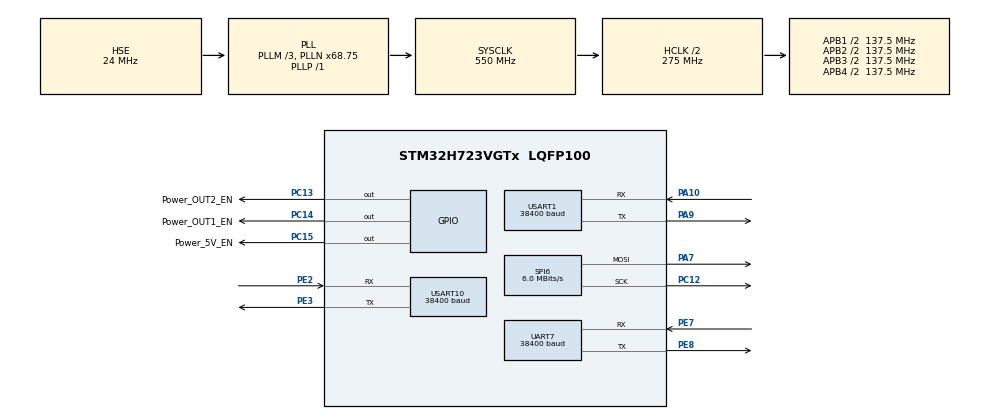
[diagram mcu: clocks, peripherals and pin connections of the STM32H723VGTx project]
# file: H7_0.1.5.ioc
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Bdma.Request0=SPI6_TX
Bdma.RequestsNb=1
Bdma.SPI6_TX.0.Direction=DMA_MEMORY_TO_PERIPH
Bdma.SPI6_TX.0.EventEnable=DISABLE
Bdma.SPI6_TX.0.Instance=BDMA_Channel0
Bdma.SPI6_TX.0.MemDataAlignment=DMA_MDATAALIGN_BYTE
Bdma.SPI6_TX.0.MemInc=DMA_MINC_ENABLE
Bdma.SPI6_TX.0.Mode=DMA_NORMAL
Bdma.SPI6_TX.0.PeriphDataAlignment=DMA_PDATAALIGN_BYTE
Bdma.SPI6_TX.0.PeriphInc=DMA_PINC_DISABLE
Bdma.SPI6_TX.0.Polarity=HAL_DMAMUX_REQ_GEN_RISING
Bdma.SPI6_TX.0.Priority=DMA_PRIORITY_LOW
Bdma.SPI6_TX.0.RequestNumber=1
Bdma.SPI6_TX.0.SignalID=NONE
Bdma.SPI6_TX.0.SyncEnable=DISABLE
Bdma.SPI6_TX.0.SyncPolarity=HAL_DMAMUX_SYNC_NO_EVENT
Bdma.SPI6_TX.0.SyncRequestNumber=1
Bdma.SPI6_TX.0.SyncSignalID=NONE
CORTEX_M7.CPU_ICache=Enabled
CORTEX_M7.MPU_Control=__NULL
CORTEX_M7.default_mode_Activation=1
Dma.Request0=USART1_RX
Dma.Request1=USART1_TX
Dma.Request2=USART10_RX
Dma.Request3=USART10_TX
Dma.Request4=UART7_RX
Dma.Request5=UART7_TX
Dma.UART7_RX.4.Direction=DMA_PERIPH_TO_MEMORY
Dma.UART7_RX.4.EventEnable=DISABLE
Dma.UART7_RX.4.FIFOMode=DMA_FIFOMODE_DISABLE
Dma.UART7_RX.4.Instance=DMA1_Stream4
Dma.UART7_RX.4.MemDataAlignment=DMA_MDATAALIGN_BYTE
Dma.UART7_RX.4.MemInc=DMA_MINC_ENABLE
Dma.UART7_RX.4.Mode=DMA_NORMAL
Dma.UART7_RX.4.PeriphDataAlignment=DMA_PDATAALIGN_BYTE
Dma.UART7_RX.4.PeriphInc=DMA_PINC_DISABLE
Dma.UART7_RX.4.Polarity=HAL_DMAMUX_REQ_GEN_RISING
Dma.UART7_RX.4.Priority=DMA_PRIORITY_LOW
Dma.UART7_RX.4.RequestNumber=1
Dma.UART7_RX.4.SignalID=NONE
Dma.UART7_RX.4.SyncEnable=DISABLE
Dma.UART7_RX.4.SyncPolarity=HAL_DMAMUX_SYNC_NO_EVENT
Dma.UART7_RX.4.SyncRequestNumber=1
Dma.UART7_RX.4.SyncSignalID=NONE
Dma.UART7_TX.5.Direction=DMA_MEMORY_TO_PERIPH
Dma.UART7_TX.5.EventEnable=DISABLE
Dma.UART7_TX.5.FIFOMode=DMA_FIFOMODE_DISABLE
Dma.UART7_TX.5.Instance=DMA1_Stream5
Dma.UART7_TX.5.MemDataAlignment=DMA_MDATAALIGN_BYTE
Dma.UART7_TX.5.MemInc=DMA_MINC_ENABLE
Dma.UART7_TX.5.Mode=DMA_NORMAL
Dma.UART7_TX.5.PeriphDataAlignment=DMA_PDATAALIGN_BYTE
Dma.UART7_TX.5.PeriphInc=DMA_PINC_DISABLE
Dma.UART7_TX.5.Polarity=HAL_DMAMUX_REQ_GEN_RISING
Dma.UART7_TX.5.Priority=DMA_PRIORITY_LOW
Dma.UART7_TX.5.RequestNumber=1
Dma.UART7_TX.5.SignalID=NONE
Dma.UART7_TX.5.SyncEnable=DISABLE
Dma.UART7_TX.5.SyncPolarity=HAL_DMAMUX_SYNC_NO_EVENT
Dma.UART7_TX.5.SyncRequestNumber=1
Dma.UART7_TX.5.SyncSignalID=NONE
Dma.USART10_RX.2.Direction=DMA_PERIPH_TO_MEMORY
Dma.USART10_RX.2.EventEnable=DISABLE
Dma.USART10_RX.2.FIFOMode=DMA_FIFOMODE_DISABLE
Dma.USART10_RX.2.Instance=DMA1_Stream2
Dma.USART10_RX.2.MemDataAlignment=DMA_MDATAALIGN_BYTE
Dma.USART10_RX.2.MemInc=DMA_MINC_ENABLE
Dma.USART10_RX.2.Mode=DMA_NORMAL
Dma.USART10_RX.2.PeriphDataAlignment=DMA_PDATAALIGN_BYTE
Dma.USART10_RX.2.PeriphInc=DMA_PINC_DISABLE
Dma.USART10_RX.2.Polarity=HAL_DMAMUX_REQ_GEN_RISING
Dma.USART10_RX.2.Priority=DMA_PRIORITY_LOW
Dma.USART10_RX.2.RequestNumber=1
Dma.USART10_RX.2.SignalID=NONE
Dma.USART10_RX.2.SyncEnable=DISABLE
Dma.USART10_RX.2.SyncPolarity=HAL_DMAMUX_SYNC_NO_EVENT
Dma.USART10_RX.2.SyncRequestNumber=1
Dma.USART10_RX.2.SyncSignalID=NONE
Dma.USART10_TX.3.Direction=DMA_MEMORY_TO_PERIPH
Dma.USART10_TX.3.EventEnable=DISABLE
Dma.USART10_TX.3.FIFOMode=DMA_FIFOMODE_DISABLE
Dma.USART10_TX.3.Instance=DMA1_Stream3
Dma.USART10_TX.3.MemDataAlignment=DMA_MDATAALIGN_BYTE
Dma.USART10_TX.3.MemInc=DMA_MINC_ENABLE
Dma.USART10_TX.3.Mode=DMA_NORMAL
Dma.USART10_TX.3.PeriphDataAlignment=DMA_PDATAALIGN_BYTE
Dma.USART10_TX.3.PeriphInc=DMA_PINC_DISABLE
Dma.USART10_TX.3.Polarity=HAL_DMAMUX_REQ_GEN_RISING
Dma.USART10_TX.3.Priority=DMA_PRIORITY_LOW
Dma.USART10_TX.3.RequestNumber=1
Dma.USART10_TX.3.SignalID=NONE
Dma.USART10_TX.3.SyncEnable=DISABLE
Dma.USART10_TX.3.SyncPolarity=HAL_DMAMUX_SYNC_NO_EVENT
Dma.USART10_TX.3.SyncRequestNumber=1
Dma.USART10_TX.3.SyncSignalID=NONE
Dma.USART1_RX.0.Direction=DMA_PERIPH_TO_MEMORY
Dma.USART1_RX.0.EventEnable=DISABLE
Dma.USART1_RX.0.FIFOMode=DMA_FIFOMODE_DISABLE
Dma.USART1_RX.0.Instance=DMA1_Stream0
Dma.USART1_RX.0.MemDataAlignment=DMA_MDATAALIGN_BYTE
Dma.USART1_RX.0.MemInc=DMA_MINC_ENABLE
Dma.USART1_RX.0.Mode=DMA_NORMAL
Dma.USART1_RX.0.PeriphDataAlignment=DMA_PDATAALIGN_BYTE
Dma.USART1_RX.0.PeriphInc=DMA_PINC_DISABLE
Dma.USART1_RX.0.Polarity=HAL_DMAMUX_REQ_GEN_RISING
Dma.USART1_RX.0.Priority=DMA_PRIORITY_LOW
Dma.USART1_RX.0.RequestNumber=1
Dma.USART1_RX.0.SignalID=NONE
Dma.USART1_RX.0.SyncEnable=DISABLE
Dma.USART1_RX.0.SyncPolarity=HAL_DMAMUX_SYNC_NO_EVENT
Dma.USART1_RX.0.SyncRequestNumber=1
Dma.USART1_RX.0.SyncSignalID=NONE
Dma.USART1_TX.1.Direction=DMA_MEMORY_TO_PERIPH
Dma.USART1_TX.1.EventEnable=DISABLE
Dma.USART1_TX.1.FIFOMode=DMA_FIFOMODE_DISABLE
Dma.USART1_TX.1.Instance=DMA1_Stream1
Dma.USART1_TX.1.MemDataAlignment=DMA_MDATAALIGN_BYTE
Dma.USART1_TX.1.MemInc=DMA_MINC_ENABLE
Dma.USART1_TX.1.Mode=DMA_NORMAL
Dma.USART1_TX.1.PeriphDataAlignment=DMA_PDATAALIGN_BYTE
Dma.USART1_TX.1.PeriphInc=DMA_PINC_DISABLE
Dma.USART1_TX.1.Polarity=HAL_DMAMUX_REQ_GEN_RISING
Dma.USART1_TX.1.Priority=DMA_PRIORITY_LOW
Dma.USART1_TX.1.RequestNumber=1
Dma.USART1_TX.1.SignalID=NONE
Dma.USART1_TX.1.SyncEnable=DISABLE
Dma.USART1_TX.1.SyncPolarity=HAL_DMAMUX_SYNC_NO_EVENT
Dma.USART1_TX.1.SyncRequestNumber=1
Dma.USART1_TX.1.SyncSignalID=NONE
FREERTOS.MEMORY_ALLOCATION=1
FREERTOS.Tasks01=defaultTask,0,128,StartDefaultTask,Default,NULL,Static,defaultTaskBuffer,defaultTaskControlBlock
FREERTOS.Timers01=myTimer01,Callback01,osTimerPeriodic,Default,NULL,Static,myTimer01ControlBlock;myTimer02,Callback02,osTimerPeriodic,Default,NULL,Static,myTimer02ControlBlock;myTimer03,Callback03,osTimerPeriodic,Default,NULL,Static,myTimer03ControlBlock
FREERTOS.configENABLE_FPU=1
FREERTOS.configUSE_NEWLIB_REENTRANT=1
FREERTOS.configUSE_TIMERS=1
FREERTOS.copyHeapFile=0
Mcu.Family=STM32H7
Mcu.Name=STM32H723VGTx
Mcu.Package=LQFP100
NVIC.BDMA_Channel0_IRQn=true\:5\:0\:false\:false\:true\:true\:false\:true\:true
NVIC.DMA1_Stream0_IRQn=true\:5\:0\:false\:false\:true\:true\:false\:true\:true
NVIC.DMA1_Stream1_IRQn=true\:5\:0\:false\:false\:true\:true\:false\:true\:true
NVIC.DMA1_Stream2_IRQn=true\:5\:0\:false\:false\:true\:true\:false\:true\:true
NVIC.DMA1_Stream3_IRQn=true\:5\:0\:false\:false\:true\:true\:false\:true\:true
NVIC.DMA1_Stream4_IRQn=true\:5\:0\:false\:false\:true\:true\:false\:true\:true
NVIC.DMA1_Stream5_IRQn=true\:5\:0\:false\:false\:true\:true\:false\:true\:true
NVIC.PriorityGroup=NVIC_PRIORITYGROUP_4
NVIC.SPI6_IRQn=true\:5\:0\:false\:false\:true\:true\:true\:true\:true
NVIC.TIM6_DAC_IRQn=true\:15\:0\:false\:false\:true\:false\:false\:true\:true
NVIC.TimeBase=TIM6_DAC_IRQn
NVIC.TimeBaseIP=TIM6
NVIC.UART7_IRQn=true\:5\:0\:false\:false\:true\:true\:true\:true\:true
NVIC.USART10_IRQn=true\:5\:0\:false\:false\:true\:true\:true\:true\:true
NVIC.USART1_IRQn=true\:5\:0\:false\:false\:true\:true\:true\:true\:true
PA10.Mode=Asynchronous
PA10.Signal=USART1_RX
PA13(JTMS/SWDIO).Mode=Serial_Wire
PA13(JTMS/SWDIO).Signal=DEBUG_JTMS-SWDIO
PA14(JTCK/SWCLK).Mode=Serial_Wire
PA14(JTCK/SWCLK).Signal=DEBUG_JTCK-SWCLK
PA7.Mode=TX_Only_Simplex_Unidirect_Master
PA7.Signal=SPI6_MOSI
PA9.Mode=Asynchronous
PA9.Signal=USART1_TX
PC12.Mode=TX_Only_Simplex_Unidirect_Master
PC12.Signal=SPI6_SCK
PC13.GPIO_Label=Power_OUT2_EN
PC13.Signal=GPIO_Output
PC14-OSC32_IN.GPIO_Label=Power_OUT1_EN
PC14-OSC32_IN.Signal=GPIO_Output
PC15-OSC32_OUT.GPIO_Label=Power_5V_EN
PC15-OSC32_OUT.Signal=GPIO_Output
PE2.GPIO_ModeDefaultPP=GPIO_MODE_AF_PP
PE2.GPIO_PuPd=GPIO_NOPULL
PE2.Mode=Asynchronous
PE2.Signal=USART10_RX
PE3.GPIO_ModeDefaultOD=GPIO_MODE_AF_PP
PE3.GPIO_ModeDefaultPP=GPIO_MODE_AF_OD
PE3.Mode=Asynchronous
PE3.Signal=USART10_TX
PE7.Mode=Asynchronous
PE7.Signal=UART7_RX
PE8.GPIO_ModeDefaultPP=GPIO_MODE_AF_OD
PE8.Mode=Asynchronous
PE8.Signal=UART7_TX
PH0-OSC_IN.Mode=HSE-External-Oscillator
PH0-OSC_IN.Signal=RCC_OSC_IN
PH1-OSC_OUT.Mode=HSE-External-Oscillator
PH1-OSC_OUT.Signal=RCC_OSC_OUT
ProjectManager.HeapSize=0x200
ProjectManager.StackSize=0x400
ProjectManager.TargetToolchain=STM32CubeIDE
RCC.ADCFreq_Value=96000000
RCC.APB1Freq_Value=137500000
RCC.APB2Freq_Value=137500000
RCC.APB3Freq_Value=137500000
RCC.APB4Freq_Value=137500000
RCC.CortexFreq_Value=550000000
RCC.D1PPRE=RCC_APB3_DIV2
RCC.D2PPRE1=RCC_APB1_DIV2
RCC.D2PPRE2=RCC_APB2_DIV2
RCC.D3PPRE=RCC_APB4_DIV2
RCC.DIVM1=3
RCC.DIVM2=2
RCC.DIVM3=2
RCC.DIVN1=68
RCC.DIVN2=16
RCC.DIVN3=18
RCC.DIVP1=1
RCC.DIVQ3=3
RCC.HCLKFreq_Value=275000000
RCC.HPRE=RCC_HCLK_DIV2
RCC.HSE_VALUE=24000000
RCC.PLL2FRACN=0
RCC.PLL3FRACN=0
RCC.PLLFRACN=6144
RCC.PLLSourceVirtual=RCC_PLLSOURCE_HSE
RCC.SPI6CLockSelection=RCC_SPI6CLKSOURCE_HSE
RCC.SYSCLKFreq_VALUE=550000000
RCC.SYSCLKSource=RCC_SYSCLKSOURCE_PLLCLK
RCC.USART16CLockSelection=RCC_USART16910CLKSOURCE_PLL2
RCC.USBFreq_Value=275000000
SPI6.BaudRatePrescaler=SPI_BAUDRATEPRESCALER_4
SPI6.CLKPhase=SPI_PHASE_2EDGE
SPI6.CalculateBaudRate=6.0 MBits/s
SPI6.DataSize=SPI_DATASIZE_8BIT
SPI6.Direction=SPI_DIRECTION_2LINES_TXONLY
SPI6.Mode=SPI_MODE_MASTER
SPI6.VirtualType=VM_MASTER
UART7.BaudRate=38400
USART1.BaudRate=38400
USART1.VirtualMode-Asynchronous=VM_ASYNC
USART10.BaudRate=38400
USART10.VirtualMode=VM_ASYNC
VP_FREERTOS_VS_CMSIS_V1.Mode=CMSIS_V1
VP_MEMORYMAP_VS_MEMORYMAP.Mode=CurAppReg
VP_SYS_VS_tim6.Mode=TIM6
board=custom

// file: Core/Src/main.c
/* USER CODE BEGIN Header */
/**
  ******************************************************************************
  * @file           : main.c
  * @brief          : Main program body
  ******************************************************************************
  * @attention
  *
  * Copyright (c) 2026 STMicroelectronics.
  * All rights reserved.
  *
  * This software is licensed under terms that can be found in the LICENSE file
  * in the root directory of this software component.
  * If no LICENSE file comes with this software, it is provided AS-IS.
  *
  ******************************************************************************
  */
/* USER CODE END Header */
#include "main.h"
#include "cmsis_os.h"
#include "bdma.h"
#include "dma.h"
#include "spi.h"
#include "usart.h"
#include "gpio.h"

void SystemClock_Config(void);
void PeriphCommonClock_Config(void);
void MX_FREERTOS_Init(void);

int main(void)
{

  /* Enable the CPU Cache */

  /* Enable I-Cache---------------------------------------------------------*/
  SCB_EnableICache();

  /* MCU Configuration--------------------------------------------------------*/

  /* Reset of all peripherals, Initializes the Flash interface and the Systick. */
  HAL_Init();

  /* Configure the system clock */
  SystemClock_Config();

  /* Configure the peripherals common clocks */
  PeriphCommonClock_Config();

  /* Initialize all configured peripherals */
  MX_GPIO_Init();
  MX_BDMA_Init();
  MX_DMA_Init();
  MX_SPI6_Init();
  MX_USART1_UART_Init();
  MX_USART10_UART_Init();
  MX_UART7_Init();

  /* Call init function for freertos objects (in cmsis_os2.c) */
  MX_FREERTOS_Init();

  /* Start scheduler */
  osKernelStart();

  /* We should never get here as control is now taken by the scheduler */

  /* Infinite loop */
  while (1)
  {

  }
}

void SystemClock_Config(void)
{
  RCC_OscInitTypeDef RCC_OscInitStruct = {0};
  RCC_ClkInitTypeDef RCC_ClkInitStruct = {0};

  /** Supply configuration update enable
  */
  HAL_PWREx_ConfigSupply(PWR_LDO_SUPPLY);

  /** Configure the main internal regulator output voltage
  */
  __HAL_PWR_VOLTAGESCALING_CONFIG(PWR_REGULATOR_VOLTAGE_SCALE0);

  while(!__HAL_PWR_GET_FLAG(PWR_FLAG_VOSRDY)) {}

  /** Initializes the RCC Oscillators according to the specified parameters
  * in the RCC_OscInitTypeDef structure.
  */
  RCC_OscInitStruct.OscillatorType = RCC_OSCILLATORTYPE_HSE;
  RCC_OscInitStruct.HSEState = RCC_HSE_ON;
  RCC_OscInitStruct.PLL.PLLState = RCC_PLL_ON;
  RCC_OscInitStruct.PLL.PLLSource = RCC_PLLSOURCE_HSE;
  RCC_OscInitStruct.PLL.PLLM = 3;
  RCC_OscInitStruct.PLL.PLLN = 68;
  RCC_OscInitStruct.PLL.PLLP = 1;
  RCC_OscInitStruct.PLL.PLLQ = 2;
  RCC_OscInitStruct.PLL.PLLR = 2;
  RCC_OscInitStruct.PLL.PLLRGE = RCC_PLL1VCIRANGE_3;
  RCC_OscInitStruct.PLL.PLLVCOSEL = RCC_PLL1VCOWIDE;
  RCC_OscInitStruct.PLL.PLLFRACN = 6144;
  if (HAL_RCC_OscConfig(&RCC_OscInitStruct) != HAL_OK)
  {
    Error_Handler();
  }

  /** Initializes the CPU, AHB and APB buses clocks
  */
  RCC_ClkInitStruct.ClockType = RCC_CLOCKTYPE_HCLK|RCC_CLOCKTYPE_SYSCLK
                              |RCC_CLOCKTYPE_PCLK1|RCC_CLOCKTYPE_PCLK2
                              |RCC_CLOCKTYPE_D3PCLK1|RCC_CLOCKTYPE_D1PCLK1;
  RCC_ClkInitStruct.SYSCLKSource = RCC_SYSCLKSOURCE_PLLCLK;
  RCC_ClkInitStruct.SYSCLKDivider = RCC_SYSCLK_DIV1;
  RCC_ClkInitStruct.AHBCLKDivider = RCC_HCLK_DIV2;
  RCC_ClkInitStruct.APB3CLKDivider = RCC_APB3_DIV2;
  RCC_ClkInitStruct.APB1CLKDivider = RCC_APB1_DIV2;
  RCC_ClkInitStruct.APB2CLKDivider = RCC_APB2_DIV2;
  RCC_ClkInitStruct.APB4CLKDivider = RCC_APB4_DIV2;

  if (HAL_RCC_ClockConfig(&RCC_ClkInitStruct, FLASH_LATENCY_3) != HAL_OK)
  {
    Error_Handler();
  }
}

void PeriphCommonClock_Config(void)
{
  RCC_PeriphCLKInitTypeDef PeriphClkInitStruct = {0};

  /** Initializes the peripherals clock
  */
  PeriphClkInitStruct.PeriphClockSelection = RCC_PERIPHCLK_USART1|RCC_PERIPHCLK_USART10;
  PeriphClkInitStruct.PLL2.PLL2M = 2;
  PeriphClkInitStruct.PLL2.PLL2N = 16;
  PeriphClkInitStruct.PLL2.PLL2P = 2;
  PeriphClkInitStruct.PLL2.PLL2Q = 2;
  PeriphClkInitStruct.PLL2.PLL2R = 2;
  PeriphClkInitStruct.PLL2.PLL2RGE = RCC_PLL2VCIRANGE_3;
  PeriphClkInitStruct.PLL2.PLL2VCOSEL = RCC_PLL2VCOWIDE;
  PeriphClkInitStruct.PLL2.PLL2FRACN = 0;
  PeriphClkInitStruct.Usart16ClockSelection = RCC_USART16910CLKSOURCE_PLL2;
  if (HAL_RCCEx_PeriphCLKConfig(&PeriphClkInitStruct) != HAL_OK)
  {
    Error_Handler();
  }
}

void HAL_TIM_PeriodElapsedCallback(TIM_HandleTypeDef *htim)
{
  if (htim->Instance == TIM6)
  {
    HAL_IncTick();
  }
}

void Error_Handler(void)
{
  __disable_irq();
  while (1)
  {
  }
}

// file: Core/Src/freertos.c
/* USER CODE BEGIN Header */
/**
  ******************************************************************************
  * File Name          : freertos.c
  * Description        : Code for freertos applications
  ******************************************************************************
  * @attention
  *
  * Copyright (c) 2026 STMicroelectronics.
  * All rights reserved.
  *
  * This software is licensed under terms that can be found in the LICENSE file
  * in the root directory of this software component.
  * If no LICENSE file comes with this software, it is provided AS-IS.
  *
  ******************************************************************************
  */
/* USER CODE END Header */

#include "FreeRTOS.h"
#include "task.h"
#include "main.h"
#include "cmsis_os.h"

/* USER CODE BEGIN Includes */
#include "usart.h"
/* USER CODE END Includes */

/* USER CODE BEGIN Variables */
uint8_t rx_data[256] = {0};
uint8_t rx1_data[256] = {0};
uint8_t data_enable[10] = {0x01, 0xA0, 0x08, 0x00, 0x00, 0x00, 0x00, 0x00, 0x00, 0x6F};
uint8_t data_speed_loop[10] = {0x01, 0xA0, 0x02, 0x00, 0x00, 0x00, 0x00, 0x00, 0x00, 0xE4};
uint8_t data_30RPM[10] = {0x01, 0x64, 0x01, 0x2C, 0x00, 0x00, 0x00, 0x00, 0x00, 0xA6};
// uint8_t data_5RPM[10] = {0x01, 0x64, 0x00, 0x32, 0x00, 0x00, 0x00, 0x00, 0x00, 0xA6};
// +10 RPM  (10RPM -> 100 -> 0x0064)
uint8_t data_10RPM_CW[10]   = {0x01, 0x64, 0x00, 0x64, 0x00, 0x00, 0x00, 0x00, 0x00, 0x4F};

// -10 RPM  (-10RPM -> -100 -> 0xFF9C)
uint8_t data_10RPM_CCW[10]  = {0x01, 0x64, 0xFF, 0x9C, 0x00, 0x00, 0x00, 0x00, 0x00, 0x9A};

// (optional) -30 RPM  (-30RPM -> -300 -> 0xFED4)
uint8_t data_30RPM_CCW[10]  = {0x01, 0x64, 0xFE, 0xD4, 0x00, 0x00, 0x00, 0x00, 0x00, 0x73};
/* USER CODE END Variables */
osThreadId defaultTaskHandle;
uint32_t defaultTaskBuffer[ 128 ];
osStaticThreadDef_t defaultTaskControlBlock;
osTimerId myTimer01Handle;
osStaticTimerDef_t myTimer01ControlBlock;
osTimerId myTimer02Handle;
osStaticTimerDef_t myTimer02ControlBlock;
osTimerId myTimer03Handle;
osStaticTimerDef_t myTimer03ControlBlock;

void StartDefaultTask(void const * argument);
void Callback01(void const * argument);
void Callback02(void const * argument);
void Callback03(void const * argument);

void MX_FREERTOS_Init(void); /* (MISRA C 2004 rule 8.1) */

/* GetIdleTaskMemory prototype (linked to static allocation support) */
void vApplicationGetIdleTaskMemory( StaticTask_t **ppxIdleTaskTCBBuffer, StackType_t **ppxIdleTaskStackBuffer, uint32_t *pulIdleTaskStackSize );

/* GetTimerTaskMemory prototype (linked to static allocation support) */
void vApplicationGetTimerTaskMemory( StaticTask_t **ppxTimerTaskTCBBuffer, StackType_t **ppxTimerTaskStackBuffer, uint32_t *pulTimerTaskStackSize );

/* USER CODE BEGIN GET_IDLE_TASK_MEMORY */
static StaticTask_t xIdleTaskTCBBuffer;
static StackType_t xIdleStack[configMINIMAL_STACK_SIZE];

void vApplicationGetIdleTaskMemory( StaticTask_t **ppxIdleTaskTCBBuffer, StackType_t **ppxIdleTaskStackBuffer, uint32_t *pulIdleTaskStackSize )
{
  *ppxIdleTaskTCBBuffer = &xIdleTaskTCBBuffer;
  *ppxIdleTaskStackBuffer = &xIdleStack[0];
  *pulIdleTaskStackSize = configMINIMAL_STACK_SIZE;
  /* place for user code */
}
/* USER CODE END GET_IDLE_TASK_MEMORY */

/* USER CODE BEGIN GET_TIMER_TASK_MEMORY */
static StaticTask_t xTimerTaskTCBBuffer;
static StackType_t xTimerStack[configTIMER_TASK_STACK_DEPTH];

void vApplicationGetTimerTaskMemory( StaticTask_t **ppxTimerTaskTCBBuffer, StackType_t **ppxTimerTaskStackBuffer, uint32_t *pulTimerTaskStackSize )
{
  *ppxTimerTaskTCBBuffer = &xTimerTaskTCBBuffer;
  *ppxTimerTaskStackBuffer = &xTimerStack[0];
  *pulTimerTaskStackSize = configTIMER_TASK_STACK_DEPTH;
  /* place for user code */
}
/* USER CODE END GET_TIMER_TASK_MEMORY */

void MX_FREERTOS_Init(void) {

  /* Create the timer(s) */
  /* definition and creation of myTimer01 */
  osTimerStaticDef(myTimer01, Callback01, &myTimer01ControlBlock);
  myTimer01Handle = osTimerCreate(osTimer(myTimer01), osTimerPeriodic, NULL);

  /* definition and creation of myTimer02 */
  osTimerStaticDef(myTimer02, Callback02, &myTimer02ControlBlock);
  myTimer02Handle = osTimerCreate(osTimer(myTimer02), osTimerPeriodic, NULL);

  /* definition and creation of myTimer03 */
  osTimerStaticDef(myTimer03, Callback03, &myTimer03ControlBlock);
  myTimer03Handle = osTimerCreate(osTimer(myTimer03), osTimerPeriodic, NULL);

  /* Create the thread(s) */
  /* definition and creation of defaultTask */
  osThreadStaticDef(defaultTask, StartDefaultTask, osPriorityNormal, 0, 128, defaultTaskBuffer, &defaultTaskControlBlock);
  defaultTaskHandle = osThreadCreate(osThread(defaultTask), NULL);

}

void StartDefaultTask(void const * argument)
{
  /* USER CODE BEGIN StartDefaultTask */
  HAL_GPIO_TogglePin(Power_5V_EN_GPIO_Port,Power_5V_EN_Pin);
  HAL_GPIO_TogglePin(Power_OUT2_EN_GPIO_Port,Power_OUT2_EN_Pin);
  HAL_GPIO_TogglePin(Power_OUT1_EN_GPIO_Port,Power_OUT1_EN_Pin);
  osDelay((3000));
  // HAL_UARTEx_ReceiveToIdle_DMA(&huart1, rx_data, sizeof(rx_data));
  // __HAL_DMA_DISABLE_IT(huart1.hdmarx, DMA_IT_HT);
  // HAL_UARTEx_ReceiveToIdle_DMA(&huart10, rx1_data, sizeof(rx1_data));
  // __HAL_DMA_DISABLE_IT(huart10.hdmarx, DMA_IT_HT);
  /* Infinite loop */
  for(;;)
  {
    HAL_UART_Transmit_DMA(&huart10, data_enable, sizeof(data_enable));
    HAL_UART_Transmit_DMA(&huart1, data_enable, sizeof(data_enable));
    osDelay((100));
    HAL_UART_Transmit_DMA(&huart10, data_speed_loop, sizeof(data_speed_loop));
    HAL_UART_Transmit_DMA(&huart1, data_speed_loop, sizeof(data_speed_loop));
    osDelay((1000));
    HAL_UART_Transmit_DMA(&huart10, data_30RPM, sizeof(data_30RPM));
    HAL_UART_Transmit_DMA(&huart1, data_30RPM, sizeof(data_30RPM));
    osDelay((1000));

    HAL_UART_Transmit_DMA(&huart10, data_30RPM_CCW, sizeof(data_30RPM_CCW));
    osDelay((1000));

    HAL_UART_Transmit_DMA(&huart10, data_10RPM_CW, sizeof(data_10RPM_CW));
    osDelay((1000));
    HAL_UART_Transmit_DMA(&huart10, data_10RPM_CCW, sizeof(data_10RPM_CCW));
    osDelay((3000));

    HAL_UART_Transmit_DMA(&huart7, data_enable, sizeof(data_enable));
    HAL_UART_Transmit_DMA(&huart1, data_enable, sizeof(data_enable));
    osDelay((100));
    HAL_UART_Transmit_DMA(&huart7, data_speed_loop, sizeof(data_speed_loop));
    HAL_UART_Transmit_DMA(&huart1, data_speed_loop, sizeof(data_speed_loop));
    osDelay((1000));
    HAL_UART_Transmit_DMA(&huart7, data_30RPM, sizeof(data_30RPM));
    HAL_UART_Transmit_DMA(&huart1, data_30RPM, sizeof(data_30RPM));
    osDelay((1000));

    HAL_UART_Transmit_DMA(&huart7, data_30RPM_CCW, sizeof(data_30RPM_CCW));
    osDelay((1000));

    HAL_UART_Transmit_DMA(&huart7, data_10RPM_CW, sizeof(data_10RPM_CW));
    osDelay((1000));
    HAL_UART_Transmit_DMA(&huart7, data_10RPM_CCW, sizeof(data_10RPM_CCW));
    osDelay((3000));

    osDelay(1);
  }
  /* USER CODE END StartDefaultTask */
}

/* Callback01 function */
void Callback01(void const * argument)
{
}

/* Callback02 function */
void Callback02(void const * argument)
{
}

/* Callback03 function */
void Callback03(void const * argument)
{
}

/* USER CODE BEGIN Application */
// void HAL_UARTEx_RxEventCallback(UART_HandleTypeDef *huart, uint16_t Size)
// {

  //  if (huart->Instance == USART10)
  // {
  //   HAL_UART_Transmit_DMA(&huart1, rx1_data, Size);
  //   HAL_UARTEx_ReceiveToIdle_DMA(&huart10, rx1_data, sizeof(rx1_data));
  //   __HAL_DMA_DISABLE_IT(huart10.hdmarx, DMA_IT_HT);
  // }
  // if (huart->Instance == USART1)
  // {
  //   HAL_UART_Transmit_DMA(&huart10, rx_data, Size);
  //   // HAL_UART_Transmit_DMA(&huart1, rx_data, Size);
  //   HAL_UARTEx_ReceiveToIdle_DMA(&huart1, rx_data, sizeof(rx_data));
  //   __HAL_DMA_DISABLE_IT(huart1.hdmarx, DMA_IT_HT);
  // }
// }
/* USER CODE END Application */
